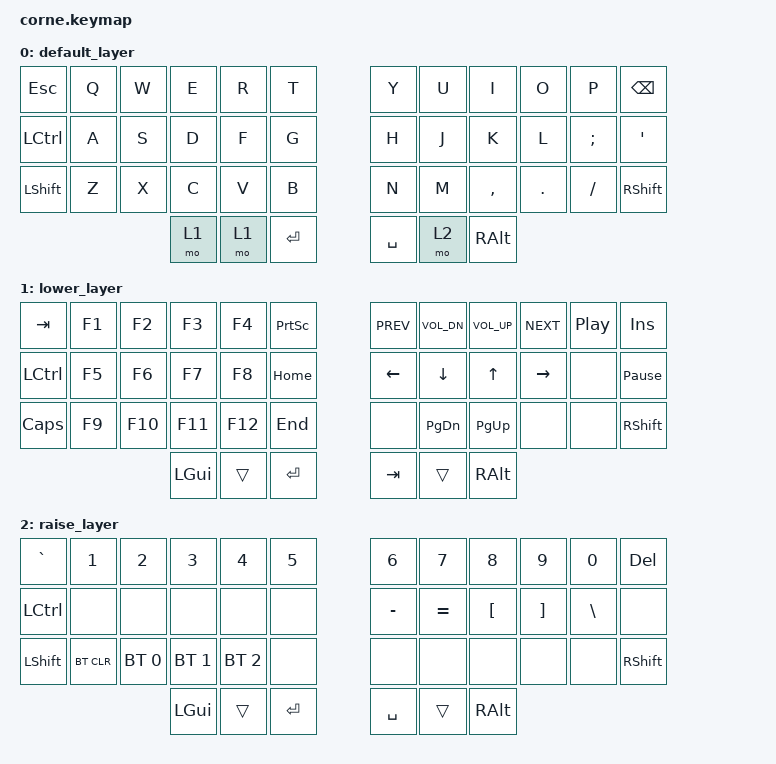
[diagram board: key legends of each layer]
/*
 * Copyright (c) 2020 The ZMK Contributors
 *
 * SPDX-License-Identifier: MIT
 */

#include <behaviors.dtsi>
#include <dt-bindings/zmk/keys.h>
#include <dt-bindings/zmk/bt.h>

/ {
        keymap {
                compatible = "zmk,keymap";

                default_layer {
                        bindings = <
   &kp ESC    &kp Q   &kp W    &kp E    &kp R    &kp T      &kp Y      &kp U        &kp I        &kp O      &kp P     &kp BSPC
   &kp LCTRL  &kp A   &kp S    &kp D    &kp F    &kp G      &kp H      &kp J        &kp K        &kp L      &kp SEMI  &kp SQT
   &kp LSHFT  &kp Z   &kp X    &kp C    &kp V    &kp B      &kp N      &kp M        &kp COMMA    &kp DOT    &kp FSLH  &kp RSHFT
                               &mo 1    &mo 1    &kp RET    &kp SPACE  &mo 2        &kp RALT
                        >;
                };
                lower_layer {
                        bindings = <
   &kp TAB    &kp F1  &kp F2   &kp F3   &kp F4   &kp PSCRN  &kp C_PREV &kp C_VOL_DN &kp C_VOL_UP &kp C_NEXT &kp C_PP  &kp INS
   &kp LCTRL  &kp F5  &kp F6   &kp F7   &kp F8   &kp HOME   &kp LEFT   &kp DOWN     &kp UP       &kp RIGHT  &none     &kp PAUSE_BREAK
   &kp CAPS   &kp F9  &kp F10  &kp F11  &kp F12  &kp END    &none      &kp PG_DN    &kp PG_UP    &none      &none     &kp RSHFT
                               &kp LGUI &trans   &kp RET    &kp TAB    &trans       &kp RALT
                        >;
                };

                raise_layer {
                        bindings = <
   &kp GRAVE  &kp N1        &kp N2       &kp N3        &kp N4           &kp N5     &kp N6     &kp N7       &kp N8       &kp N9     &kp N0    &kp DEL
   &kp LCTRL  &none         &none        &none         &none            &none      &kp MINUS  &kp EQUAL    &kp LBKT     &kp RBKT   &kp BSLH  &none
   &kp LSHFT     &bt BT_CLR    &bt BT_SEL 0 &bt BT_SEL 1  &bt BT_SEL 2     &none      &none      &none        &none        &none      &none     &kp RSHFT
                    	                 &kp LGUI      &trans           &kp RET    &kp SPACE  &trans     &kp RALT
                        >;
                };
        };
};
